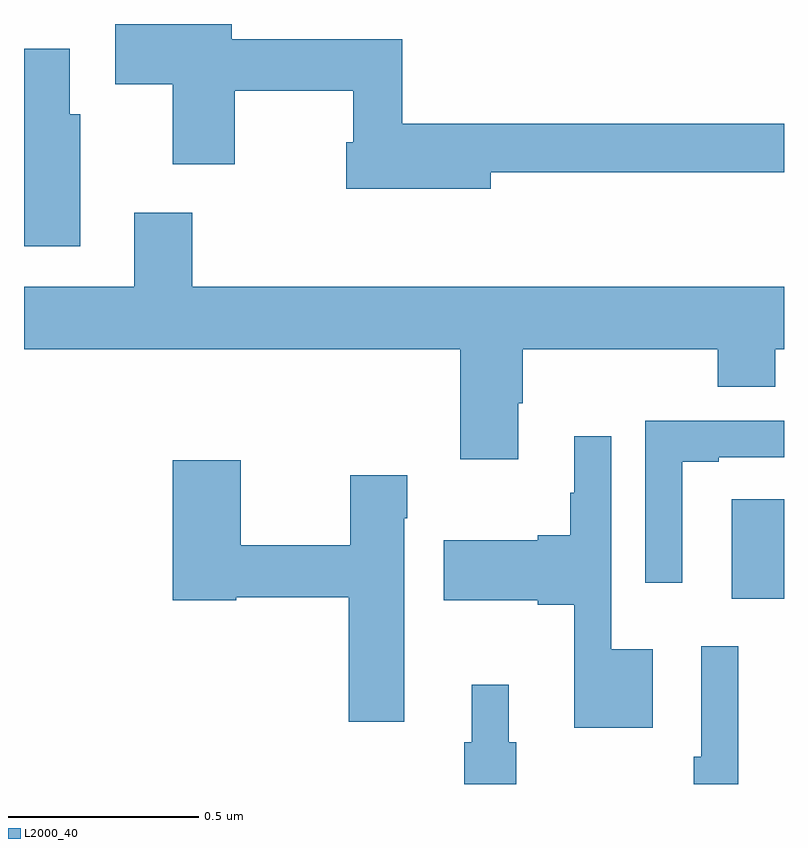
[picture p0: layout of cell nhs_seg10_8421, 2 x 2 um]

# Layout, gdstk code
import gdstk
lib = gdstk.Library(unit=1e-6, precision=1e-09)
def R(c, l, rs):  # rectangles x0, y0, x1, y1
    for r in rs: c.add(gdstk.rectangle(r[:2], r[2:], *l))
def P(c, l, *ps):  # polygons
    for p in ps: c.add(gdstk.Polygon(p, *l))
L2000_40 = (2000, 40)

nhs_seg10_8421 = lib.new_cell('nhs_seg10_8421')
R(nhs_seg10_8421, L2000_40, [(217.862,1304.987,218,1305.25)])
P(nhs_seg10_8421, L2000_40, [(217.228,1306.11),(218,1306.11),(218,1306.238),(216.995,1306.238),(216.995,1306.46),(216.547,1306.46),(216.547,1306.5),(216.24,1306.5),(216.24,1306.342),(216.392,1306.342),(216.392,1306.131),(216.555,1306.131),(216.555,1306.324),(216.867,1306.324),(216.867,1306.189),(216.848,1306.189),(216.848,1306.067),(217.228,1306.067)],
  [(216.148,1306.263),(216.121,1306.263),(216.121,1306.435),(216,1306.435),(216,1305.915),(216.148,1305.915)],
  [(217.3,1305.502),(217.313,1305.502),(217.313,1305.644),(217.826,1305.644),(217.826,1305.546),(217.977,1305.546),(217.977,1305.644),(218,1305.644),(218,1305.808),(216.443,1305.808),(216.443,1306.003),(216.29,1306.003),(216.29,1305.808),(216,1305.808),(216,1305.644),(217.148,1305.644),(217.148,1305.354),(217.3,1305.354)],
  [(217.732,1305.348),(217.828,1305.348),(217.828,1305.36),(218,1305.36),(218,1305.456),(217.635,1305.456),(217.635,1305.03),(217.732,1305.03)],
  [(217.654,1304.854),(217.545,1304.854),(217.545,1305.415),(217.448,1305.415),(217.448,1305.266),(217.437,1305.266),(217.437,1305.155),(217.352,1305.155),(217.352,1305.142),(217.104,1305.142),(217.104,1304.984),(217.352,1304.984),(217.352,1304.972),(217.448,1304.972),(217.448,1304.648),(217.654,1304.648)],
  [(217,1305.2),(217.008,1305.2),(217.008,1305.313),(216.859,1305.313),(216.859,1305.128),(216.57,1305.128),(216.57,1305.352),(216.392,1305.352),(216.392,1304.984),(216.558,1304.984),(216.558,1304.992),(216.854,1304.992),(216.854,1304.664),(217,1304.664)],
  [(217.88,1304.863),(217.782,1304.863),(217.782,1304.572),(217.762,1304.572),(217.762,1304.5),(217.88,1304.5)],
  [(217.295,1304.61),(217.276,1304.61),(217.276,1304.761),(217.178,1304.761),(217.178,1304.61),(217.159,1304.61),(217.159,1304.5),(217.295,1304.5)])

lib.write_gds('nhs_seg10_8421.gds')
